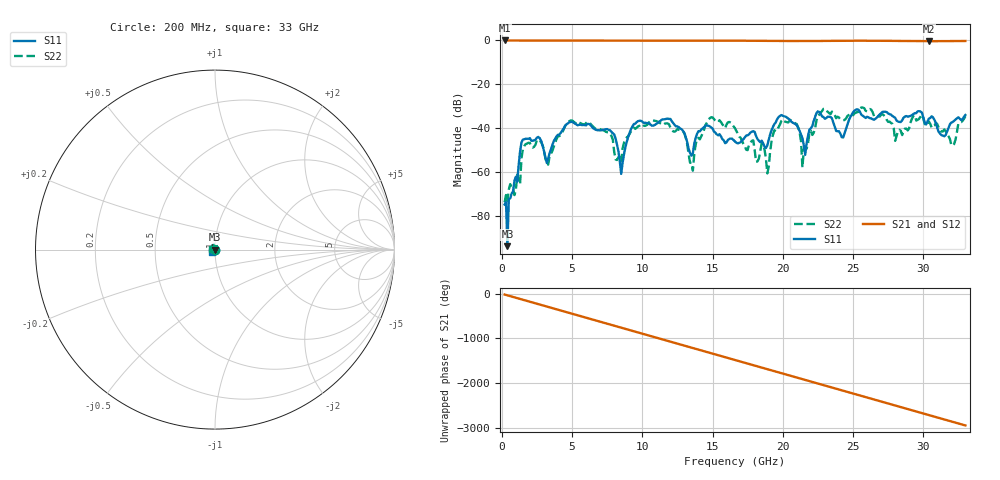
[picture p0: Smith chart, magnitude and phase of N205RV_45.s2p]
# GHZ S RI R 50
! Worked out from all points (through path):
!   329 points, 200 MHz to 33 GHz, reference 50 ohm
!   highest |S21| = -0.02 dB at 200 MHz (marker M1); lowest = -0.4 dB at 30.4 GHz (marker M2)
!   group delay of S21, straight-line fit = 248 ps
!   lowest |S11| = -93.7 dB at 400 MHz (marker M3), VSWR 1.00, Z = 50 - j0.00193 ohm
!   |S11| at or under -10 dB: start of sweep to end of sweep
!   |S22| runs from -73.7 to -30.5 dB; largest |S21 - S12| = 0.0019
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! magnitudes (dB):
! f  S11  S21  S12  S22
! 200 MHz  -74.8  0.0  0.0  -73.7
! 400 MHz  -93.7  0.0  0.0  -73.2
! 1.3 GHz  -50.7  -0.1  -0.1  -65.5
! 1.5 GHz  -45.2  -0.1  -0.1  -49.6
! 3.2 GHz  -55.8  -0.1  -0.1  -55.6
! 5.7 GHz  -38.6  -0.1  -0.1  -38.0
! 8 GHz  -42.8  -0.1  -0.1  -50.7
! 8.5 GHz  -60.8  -0.1  -0.1  -55.7
! 9.4 GHz  -38.1  -0.1  -0.1  -39.7
! 11.2 GHz  -37.0  -0.2  -0.2  -37.4
! 13.6 GHz  -51.5  -0.2  -0.2  -59.4
! 14.8 GHz  -39.1  -0.1  -0.1  -35.5
! 16.6 GHz  -46.1  -0.1  -0.1  -40.0
! 18.9 GHz  -47.9  -0.2  -0.2  -60.6
! 20 GHz  -34.3  -0.3  -0.3  -36.1
! 21 GHz  -38.7  -0.3  -0.3  -38.1
! 21.4 GHz  -44.5  -0.3  -0.3  -57.9
! 22.1 GHz  -39.1  -0.3  -0.3  -43.1
! 27.6 GHz  -33.5  -0.2  -0.2  -37.0
! 30.4 GHz  -35.6  -0.4  -0.4  -36.9
! 32.1 GHz  -37.2  -0.3  -0.3  -47.8
! 33 GHz  -34.0  -0.3  -0.3  -34.5
